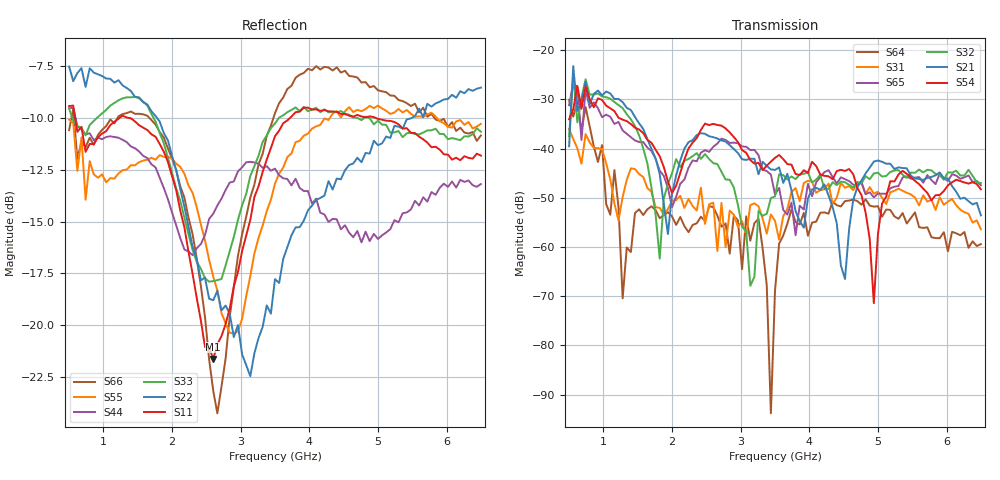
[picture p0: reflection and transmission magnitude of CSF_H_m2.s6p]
!Keysight Technologies,M9804A,MY58100912,A.14.10.03
!Date: Thursday, April 27, 2023 10:28:33
!Correction: S11(C  6-Port  )
!S12(C  6-Port  )
!S13(C  6-Port  )
!S14(C  6-Port  )
!S15(C  6-Port  )
!S16(C  6-Port  )
!S21(C  6-Port  )
!S22(C  6-Port  )
!S23(C  6-Port  )
!S24(C  6-Port  )
!S25(C  6-Port  )
!S26(C  6-Port  )
!S31(C  6-Port  )
!S32(C  6-Port  )
!S33(C  6-Port  )
!S34(C  6-Port  )
!S35(C  6-Port  )
!S36(C  6-Port  )
!S41(C  6-Port  )
!S42(C  6-Port  )
!S43(C  6-Port  )
!S44(C  6-Port  )
!S45(C  6-Port  )
!S46(C  6-Port  )
!S51(C  6-Port  )
!S52(C  6-Port  )
!S53(C  6-Port  )
!S54(C  6-Port  )
!S55(C  6-Port  )
!S56(C  6-Port  )
!S61(C  6-Port  )
!S62(C  6-Port  )
!S63(C  6-Port  )
!S64(C  6-Port  )
!S65(C  6-Port  )
!S66(C  6-Port  )
!S6P File: Measurement: :
# Hz S  RI  R 50
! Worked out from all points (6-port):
!   101 points, 500 MHz to 6.5 GHz, reference 50 ohm
!   strongest paths, dB at 500 MHz, 2 GHz, 3.5 GHz, 5 GHz, 6.5 GHz:
!     S54: -34.0, -49.0, -41.9, -57.4, -48.3
!     S21: -39.5, -49.2, -44.3, -42.4, -53.6
!     S32: -37.5, -45.0, -49.7, -44.9, -47.0
!     S65: -31.2, -51.9, -49.3, -49.1, -47.4
!     S31: -36.0, -50.6, -54.7, -48.8, -56.4
!     S64: -30.1, -53.8, -68.9, -51.7, -59.4
!   lowest |S11| = -21.6 dB at 2.6 GHz (marker M1), VSWR 1.18, Z = 42.6 + j2.03 ohm
!   |S11| at or under -10 dB: 588.4 MHz to 1.233 GHz (644.4 MHz wide, 70.8 % of centre); 1.381 GHz to 3.716 GHz (2.335 GHz wide, 91.6 % of centre); 4.971 GHz to end of sweep
